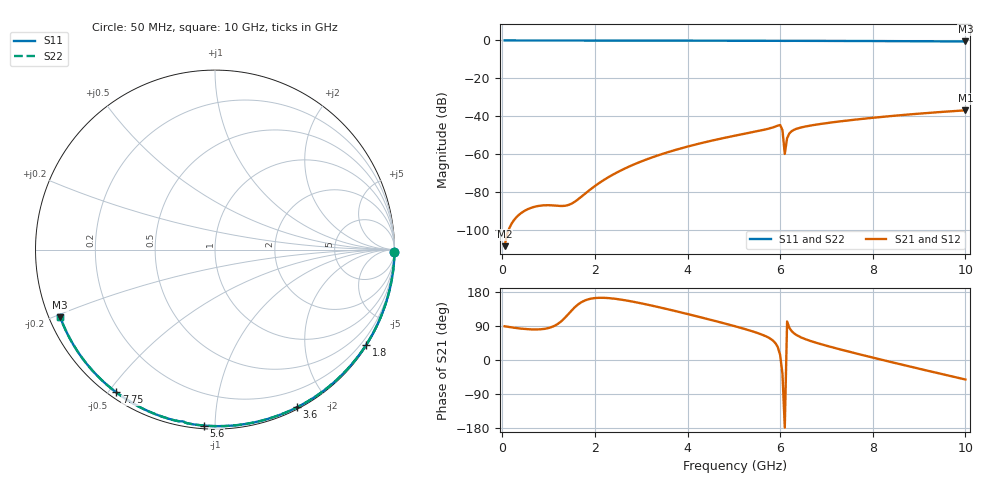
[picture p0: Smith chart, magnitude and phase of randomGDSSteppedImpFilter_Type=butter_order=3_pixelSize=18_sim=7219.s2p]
! freq	dB(S11)	phase(S11)	dB(S12)	phase(S12)
!  dB(S21)	phase(S21)	dB(S22)	phase(S22)
!S-par simulation data
#  GHz  S  DB  R 50
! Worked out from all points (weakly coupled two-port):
!   200 points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, 50 MHz to 10 GHz, reference 50 ohm
!   highest |S21| = -36.91 dB at 10 GHz (marker M1); lowest = -108.7 dB at 50 MHz (marker M2)
!   lowest |S11| = -0.5 dB at 10 GHz (marker M3), VSWR 32.84, Z = 1.59 - j10.4 ohm
!   |S11| at or under -10 dB: nowhere
!   |S22| runs from -0.5 to 0.0 dB; largest |S21 - S12| = 0
!   S11 on the Smith chart (normalised r, x): 50 MHz: open; 1.8 GHz: 0.03, -3.48; 3.6 GHz: 0.02, -1.65; 5.6 GHz: 0.02, -0.94; 7.75 GHz: 0.02, -0.52; 10 GHz: 0.03, -0.21
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0.05  -0.00 -0.9  -108.69 89.0  -108.69 89.0  -0.00 -0.9
0.9  -0.02 -16.2  -87.09 82.0  -87.09 82.0  -0.02 -16.2
1.75  -0.04 -31.2  -81.70 155.2  -81.70 155.2  -0.04 -31.2
1.8  -0.04 -32.1  -80.70 157.8  -80.70 157.8  -0.04 -32.1
1.85  -0.04 -33.0  -79.72 159.9  -79.72 159.9  -0.04 -33.0
2.2  -0.05 -39.0  -73.61 164.0  -73.61 164.0  -0.05 -39.0
2.55  -0.06 -45.0  -68.81 159.6  -68.81 159.6  -0.06 -45.0
3.4  -0.08 -59.2  -60.41 138.9  -60.41 138.9  -0.08 -59.2
3.6  -0.08 -62.5  -58.85 133.2  -58.85 133.2  -0.08 -62.5
4.25  -0.10 -72.9  -54.51 113.8  -54.51 113.8  -0.10 -72.9
5.05  -0.13 -85.4  -50.18 88.2  -50.18 88.2  -0.13 -85.4
5.6  -0.15 -93.7  -47.45 67.3  -47.45 67.3  -0.15 -93.7
6  -0.20 -99.9  -44.67 13.0  -44.67 13.0  -0.20 -99.9
6.05  -0.24 -100.5  -47.39 -36.6  -47.39 -36.6  -0.24 -100.5
6.1  -0.22 -100.9  -59.95 -178.5  -59.95 -178.5  -0.22 -100.9
6.15  -0.20 -101.7  -51.62 101.7  -51.62 101.7  -0.20 -101.7
6.2  -0.20 -102.4  -49.06 84.7  -49.06 84.7  -0.20 -102.4
6.35  -0.20 -104.7  -46.69 66.0  -46.69 66.0  -0.20 -104.7
6.7  -0.22 -109.8  -44.77 48.5  -44.77 48.5  -0.22 -109.8
7.75  -0.29 -124.7  -41.49 13.9  -41.49 13.9  -0.29 -124.7
8.35  -0.34 -133.1  -40.03 -4.1  -40.03 -4.1  -0.34 -133.1
10  -0.53 -156.4  -36.91 -51.5  -36.91 -51.5  -0.53 -156.4
